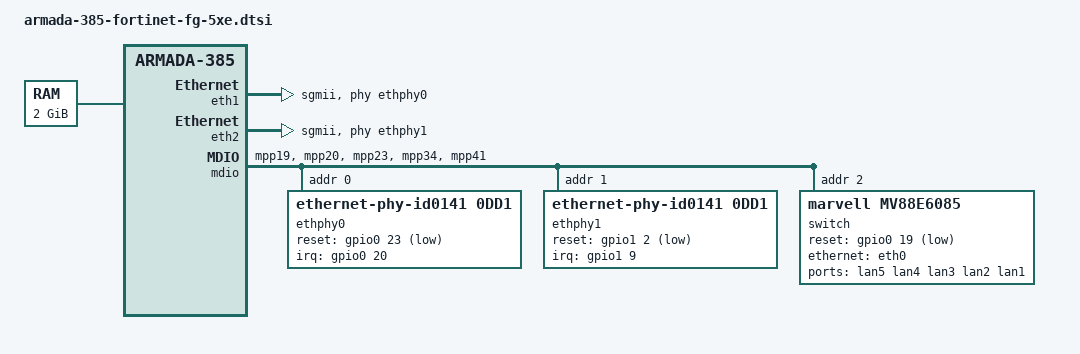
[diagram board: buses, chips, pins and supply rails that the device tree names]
// SPDX-License-Identifier: GPL-2.0-or-later OR MIT

#include "armada-385-fortinet-fg-xxe.dtsi"

/ {
	memory@0 {
		device_type = "memory";
		reg = <0x00000000 0x80000000>; /* 2GB */
	};
};

&gpio_leds {
	led-14 {
		gpios = <&gpio2 0 GPIO_ACTIVE_HIGH>;
		color = <LED_COLOR_ID_GREEN>;
		function = LED_FUNCTION_SPEED_WAN;
		function-enumerator = <1>;
		linux,default-trigger = "f1072004.mdio-mii:00:1Gbps";
	};

	led-15 {
		gpios = <&gpio2 1 GPIO_ACTIVE_HIGH>;
		color = <LED_COLOR_ID_GREEN>;
		function = LED_FUNCTION_SPEED_WAN;
		function-enumerator = <2>;
		linux,default-trigger = "f1072004.mdio-mii:01:1Gbps";
	};

	led-16 {
		gpios = <&gpio2 2 GPIO_ACTIVE_HIGH>;
		color = <LED_COLOR_ID_AMBER>;
		function = LED_FUNCTION_SPEED_LAN;
		function-enumerator = <5>;
		linux,default-trigger = "mv88e6xxx-0:00:100Mbps";
	};

	led-17 {
		gpios = <&gpio2 3 GPIO_ACTIVE_HIGH>;
		color = <LED_COLOR_ID_GREEN>;
		function = LED_FUNCTION_SPEED_LAN;
		function-enumerator = <5>;
		linux,default-trigger = "mv88e6xxx-0:00:1Gbps";
	};
};

&pinctrl {
	pmx_phy_switch_pins: phy-switch-pins {
		marvell,pins = "mpp19", "mpp20", "mpp23", "mpp34", "mpp41";
		marvell,function = "gpio";
	};
};

&eth1 {
	status = "okay";

	phy-handle = <&ethphy0>;
	phy-connection-type = "sgmii";
	buffer-manager = <&bm>;
	bm,pool-long = <2>;
	nvmem-cells = <&macaddr_bdinfo_d880 1>;
	nvmem-cell-names = "mac-address";
};

&eth2 {
	status = "okay";

	phy-handle = <&ethphy1>;
	phy-connection-type = "sgmii";
	buffer-manager = <&bm>;
	bm,pool-long = <3>;
	nvmem-cells = <&macaddr_bdinfo_d880 2>;
	nvmem-cell-names = "mac-address";
};

&mdio {
	pinctrl-names = "default";
	pinctrl-0 = <&mdio_pins>, <&pmx_phy_switch_pins>;

	/* Marvell 88E1512 */
	ethphy0: ethernet-phy@0 {
		compatible = "ethernet-phy-id0141,0dd1",
			     "ethernet-phy-ieee802.3-c22";
		reg = <0x0>;
		interrupt-parent = <&gpio0>;
		interrupts = <20 IRQ_TYPE_LEVEL_LOW>;
		reset-gpios = <&gpio0 23 GPIO_ACTIVE_LOW>;
		reset-assert-us = <10000>;
		reset-deassert-us = <10000>;
		/*
		 * LINK/ACT   (Green): LED[0], Active Low
		 * SPEED 100M (Amber): LED[1], Active High
		 */
		marvell,reg-init = <3 16 0 0x71>,
				   <3 17 0 0x4>;
	};

	/* Marvell 88E1512 */
	ethphy1: ethernet-phy@1 {
		compatible = "ethernet-phy-id0141,0dd1",
			     "ethernet-phy-ieee802.3-c22";
		reg = <0x1>;
		interrupt-parent = <&gpio1>;
		interrupts = <9 IRQ_TYPE_LEVEL_LOW>;
		reset-gpios = <&gpio1 2 GPIO_ACTIVE_LOW>;
		reset-assert-us = <10000>;
		reset-deassert-us = <10000>;
		/*
		 * LINK/ACT   (Green): LED[0], Active Low
		 * SPEED 100M (Amber): LED[1], Active High
		 */
		marvell,reg-init = <3 16 0 0x71>,
				   <3 17 0 0x4>;
	};

	/* Marvell 88E6176 */
	switch@2 {
		compatible = "marvell,mv88e6085";
		reg = <0x2>;
		reset-gpios = <&gpio0 19 GPIO_ACTIVE_LOW>;

		ports {
			#address-cells = <1>;
			#size-cells = <0>;

			port@0 {
				reg = <0>;
				label = "lan5";
				nvmem-cells = <&macaddr_bdinfo_d880 7>;
				nvmem-cell-names = "mac-address";
			};

			port@1 {
				reg = <1>;
				label = "lan4";
				nvmem-cells = <&macaddr_bdinfo_d880 6>;
				nvmem-cell-names = "mac-address";
			};

			port@2 {
				reg = <2>;
				label = "lan3";
				nvmem-cells = <&macaddr_bdinfo_d880 5>;
				nvmem-cell-names = "mac-address";
			};

			port@3 {
				reg = <3>;
				label = "lan2";
				nvmem-cells = <&macaddr_bdinfo_d880 4>;
				nvmem-cell-names = "mac-address";
			};

			port@4 {
				reg = <4>;
				label = "lan1";
				nvmem-cells = <&macaddr_bdinfo_d880 3>;
				nvmem-cell-names = "mac-address";
			};

			port@6 {
				reg = <6>;
				ethernet = <&eth0>;
				phy-connection-type = "rgmii-id";

				fixed-link {
					speed = <1000>;
					full-duplex;
				};
			};
		};
	};
};
